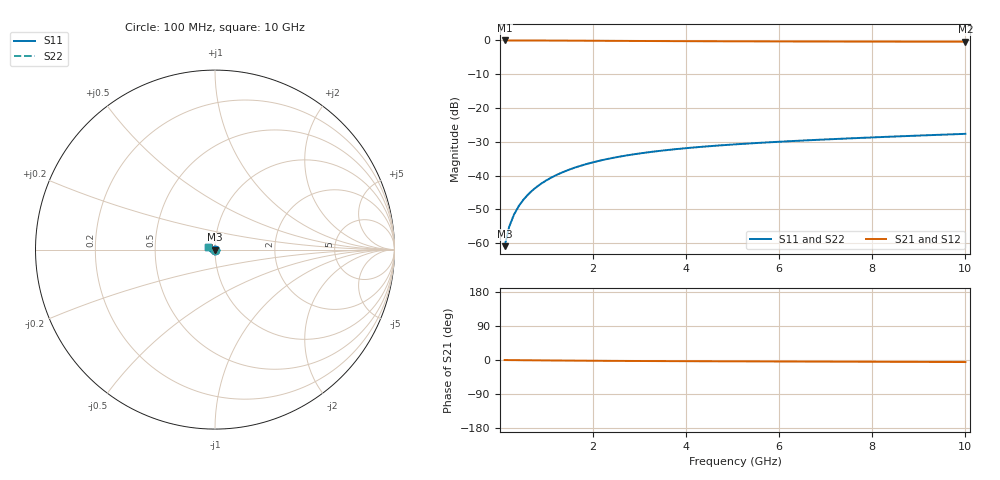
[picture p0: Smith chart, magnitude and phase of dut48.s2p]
! Touchstone file exported from HFSS 2024.1.0
!  File:  C:/UserFiles/LocalFiles/RDL_TSV_Batchsim/temp_TSV1_48_1779371731.aedt
!  Generated:  10:01:10 PM May 21, 2026
!  Design:  TSV1
!  Project:  temp_TSV1_48_1779371731
!  Setup:  Setup1
!  Solution:  Sweep
! Variables:
!  dtsv = 7.66um
!  hbump = 3um
!  htsv = 81.53um
!  lrdl = 252.1521522um
!  p = 40
!  p1 = 52.47um
!  t = 500um
!  trdl = 3um
!  wrdl = 24.89489489um
# GHz S MA R 50.000000
! Terminal data exported
! Port[1] = TSV22_T1
! Port[2] = TSV22_T2
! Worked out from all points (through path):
!   100 points, 100 MHz to 10 GHz, reference 50 ohm
!   highest |S21| = 0.00 dB at 100 MHz (marker M1); lowest = -0.4 dB at 10 GHz (marker M2)
!   lowest |S11| = -60.9 dB at 100 MHz (marker M3), VSWR 1.00, Z = 50 - j0.0878 ohm
!   |S11| at or under -10 dB: start of sweep to end of sweep
!   |S22| runs from -60.9 to -27.6 dB; largest |S21 - S12| = 5.2e-15
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0.1  0.0009041 -76.1  0.9997 -0.1  0.9997 -0.1  0.0009041 -76.1
! Gamma 0 0 0 0
! Port Impedance 50 0 50 0
0.2  0.00177 -85.9  0.9996 -0.2  0.9996 -0.2  0.00177 -85.9
0.3  0.002641 -90.7  0.9994 -0.3  0.9994 -0.3  0.002641 -90.7
0.4  0.003509 -94.1  0.9992 -0.5  0.9992 -0.5  0.003509 -94.1
0.5  0.004371 -96.9  0.9989 -0.6  0.9989 -0.6  0.004371 -96.9
0.6  0.005225 -99.5  0.9986 -0.7  0.9986 -0.7  0.005225 -99.5
0.7  0.00607 -101.9  0.9982 -0.8  0.9982 -0.8  0.00607 -101.9
0.8  0.006904 -104.2  0.9977 -0.9  0.9977 -0.9  0.006904 -104.2
0.9  0.007726 -106.4  0.9972 -1.0  0.9972 -1.0  0.007726 -106.4
1.1  0.009329 -110.7  0.9961 -1.2  0.9961 -1.2  0.009329 -110.7
1.4  0.01162 -116.7  0.9942 -1.5  0.9942 -1.5  0.01162 -116.7
1.6  0.01306 -120.5  0.9927 -1.7  0.9927 -1.7  0.01306 -120.5
1.8  0.01444 -124.2  0.9912 -1.8  0.9912 -1.8  0.01444 -124.2
2.1  0.01637 -129.4  0.9889 -2.1  0.9889 -2.1  0.01637 -129.4
2.5  0.0187 -136.0  0.9858 -2.3  0.9858 -2.3  0.0187 -136.0
2.9  0.02079 -142.1  0.9828 -2.6  0.9828 -2.6  0.02079 -142.1
3.4  0.02309 -149.1  0.9793 -2.9  0.9793 -2.9  0.02309 -149.1
4.2  0.02621 -158.9  0.9745 -3.2  0.9745 -3.2  0.02621 -158.9
5.1  0.02915 -168.5  0.9701 -3.6  0.9701 -3.6  0.02915 -168.5
6.7  0.03354 177.5  0.9645 -4.2  0.9645 -4.2  0.03354 177.5
8.4  0.03771 165.7  0.9605 -4.8  0.9605 -4.8  0.03771 165.7
10  0.04151 156.6  0.9579 -5.4  0.9579 -5.4  0.04151 156.6
